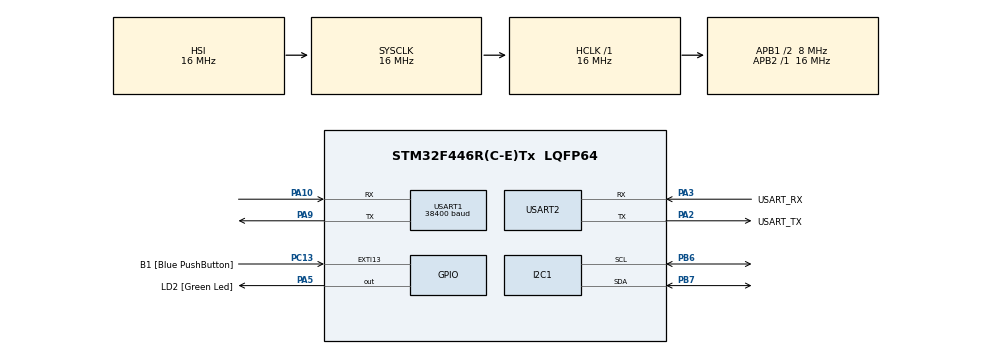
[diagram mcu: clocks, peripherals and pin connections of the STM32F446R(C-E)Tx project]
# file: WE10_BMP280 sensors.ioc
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Mcu.Family=STM32F4
Mcu.Name=STM32F446R(C-E)Tx
Mcu.Package=LQFP64
NVIC.PriorityGroup=NVIC_PRIORITYGROUP_0
PA10.Mode=Asynchronous
PA10.Signal=USART1_RX
PA13.GPIO_Label=TMS
PA13.Mode=Serial_Wire
PA13.Signal=SYS_JTMS-SWDIO
PA14.GPIO_Label=TCK
PA14.Mode=Serial_Wire
PA14.Signal=SYS_JTCK-SWCLK
PA2.GPIO_Label=USART_TX
PA2.Mode=Asynchronous
PA2.Signal=USART2_TX
PA3.GPIO_Label=USART_RX
PA3.Mode=Asynchronous
PA3.Signal=USART2_RX
PA5.GPIO_Label=LD2 [Green Led]
PA5.Signal=GPIO_Output
PA9.Mode=Asynchronous
PA9.Signal=USART1_TX
PB3.GPIO_Label=SWO
PB3.Signal=SYS_JTDO-SWO
PB6.Mode=I2C
PB6.Signal=I2C1_SCL
PB7.Mode=I2C
PB7.Signal=I2C1_SDA
PC13.GPIO_Label=B1 [Blue PushButton]
PC13.GPIO_ModeDefaultEXTI=GPIO_MODE_IT_FALLING
PC13.Signal=GPXTI13
PC14-OSC32_IN.Mode=LSE-External-Oscillator
PC14-OSC32_IN.Signal=RCC_OSC32_IN
PC15-OSC32_OUT.Mode=LSE-External-Oscillator
PC15-OSC32_OUT.Signal=RCC_OSC32_OUT
PH0-OSC_IN.Mode=HSE-External-Oscillator
PH0-OSC_IN.Signal=RCC_OSC_IN
PH1-OSC_OUT.Mode=HSE-External-Oscillator
PH1-OSC_OUT.Signal=RCC_OSC_OUT
ProjectManager.HeapSize=0x200
ProjectManager.StackSize=0x400
ProjectManager.TargetToolchain=STM32CubeIDE
RCC.48MHZClocksFreq_Value=84000000
RCC.AHBFreq_Value=16000000
RCC.APB1CLKDivider=RCC_HCLK_DIV2
RCC.APB1Freq_Value=8000000
RCC.APB1TimFreq_Value=16000000
RCC.APB2Freq_Value=16000000
RCC.APB2TimFreq_Value=16000000
RCC.CortexFreq_Value=16000000
RCC.FLatency-AdvancedSettings=FLASH_LATENCY_0
RCC.HCLKFreq_Value=16000000
RCC.HSE_VALUE=8000000
RCC.HSI_VALUE=16000000
RCC.PLLN=336
RCC.PLLP=RCC_PLLP_DIV4
RCC.SYSCLKFreq_VALUE=16000000
RCC.USBFreq_Value=168000000
RCC.VCOOutputFreq_Value=336000000
TIM1.Prescaler=83
USART1.BaudRate=38400
USART1.VirtualMode=VM_ASYNC
USART2.VirtualMode=VM_ASYNC
VP_TIM1_VS_ClockSourceINT.Mode=Internal
board=NUCLEO-F446RE

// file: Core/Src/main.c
/* USER CODE BEGIN Header */
/**
  ******************************************************************************
  * @file           : main.c
  * @brief          : Main program body
  ******************************************************************************
  * @attention
  *
  * Copyright (c) 2026 STMicroelectronics.
  * All rights reserved.
  *
  * This software is licensed under terms that can be found in the LICENSE file
  * in the root directory of this software component.
  * If no LICENSE file comes with this software, it is provided AS-IS.
  *
  ******************************************************************************
  */
/* USER CODE END Header */
#include "main.h"

/* USER CODE BEGIN Includes */
#include <stdio.h>
#include <string.h>
#include <stdlib.h>
#include <math.h>
/* USER CODE END Includes */

/* USER CODE BEGIN PTD */

/* ---------------- BMP280 types ---------------- */
typedef struct {
    uint16_t dig_T1;
    int16_t  dig_T2;
    int16_t  dig_T3;

    uint16_t dig_P1;
    int16_t  dig_P2;
    int16_t  dig_P3;
    int16_t  dig_P4;
    int16_t  dig_P5;
    int16_t  dig_P6;
    int16_t  dig_P7;
    int16_t  dig_P8;
    int16_t  dig_P9;
} BMP280_Calib;

typedef struct {
    float temperature; /* deg C */
    float pressure;    /* hPa */
    float altitude;    /* meters, estimated from pressure */
} BMP280_Data;

/* USER CODE END PTD */

/* USER CODE BEGIN PD */

/* ---------------- BMP280 defines ---------------- */
/* 7-bit I2C address is 0x76 (SDO -> GND) or 0x77 (SDO -> VDDIO).
 * HAL_I2C functions want the 8-bit (already shifted) address. */
#define BMP280_I2C_ADDR   (0x76 << 1)

#define BMP280_REG_ID          0xD0
#define BMP280_REG_RESET       0xE0
#define BMP280_REG_STATUS      0xF3
#define BMP280_REG_CTRL_MEAS   0xF4
#define BMP280_REG_CONFIG      0xF5
#define BMP280_REG_PRESS_MSB   0xF7
#define BMP280_REG_CALIB_START 0x88   /* 24 bytes: dig_T1..dig_P9 */

#define BMP280_CHIP_ID         0x58

/* USER CODE END PD */

I2C_HandleTypeDef hi2c1;

TIM_HandleTypeDef htim1;

UART_HandleTypeDef huart1;
UART_HandleTypeDef huart2;

/* USER CODE BEGIN PV */
static BMP280_Calib calib;
static int32_t t_fine; /* shared between temp and pressure compensation, per datasheet */
BMP280_Data bmp280_data;
/* USER CODE END PV */

void SystemClock_Config(void);
static void MX_GPIO_Init(void);
static void MX_USART2_UART_Init(void);
static void MX_I2C1_Init(void);
static void MX_TIM1_Init(void);
static void MX_USART1_UART_Init(void);
/* USER CODE BEGIN PFP */

/* BMP280 driver */
static HAL_StatusTypeDef BMP280_ReadReg(I2C_HandleTypeDef *hi2c, uint8_t reg, uint8_t *buf, uint16_t len);
static HAL_StatusTypeDef BMP280_WriteReg(I2C_HandleTypeDef *hi2c, uint8_t reg, uint8_t value);
static void BMP280_ReadCalibration(I2C_HandleTypeDef *hi2c);
HAL_StatusTypeDef BMP280_Init(I2C_HandleTypeDef *hi2c);
HAL_StatusTypeDef BMP280_ReadData(I2C_HandleTypeDef *hi2c, BMP280_Data *data);
static float BMP280_CompensateTemperature(int32_t adc_T);
static float BMP280_CompensatePressure(int32_t adc_P);

/* WE10 WiFi / MQTT driver */
void WE10_Init(char *SSID, char *PASSWD);
void MQTT_Init(void);
void mqtt_publish_bmp280(float temperature, float pressure, float altitude);

/* USER CODE END PFP */

/* USER CODE BEGIN 0 */

/* =========================================================================
 *                              BMP280 DRIVER
 * ========================================================================= */

static HAL_StatusTypeDef BMP280_ReadReg(I2C_HandleTypeDef *hi2c, uint8_t reg, uint8_t *buf, uint16_t len)
{
    return HAL_I2C_Mem_Read(hi2c, BMP280_I2C_ADDR, reg, I2C_MEMADD_SIZE_8BIT, buf, len, 100);
}

static HAL_StatusTypeDef BMP280_WriteReg(I2C_HandleTypeDef *hi2c, uint8_t reg, uint8_t value)
{
    return HAL_I2C_Mem_Write(hi2c, BMP280_I2C_ADDR, reg, I2C_MEMADD_SIZE_8BIT, &value, 1, 100);
}

static void BMP280_ReadCalibration(I2C_HandleTypeDef *hi2c)
{
    uint8_t buf[24];
    BMP280_ReadReg(hi2c, BMP280_REG_CALIB_START, buf, 24);

    calib.dig_T1 = (uint16_t)(buf[1]  << 8 | buf[0]);
    calib.dig_T2 = (int16_t)(buf[3]  << 8 | buf[2]);
    calib.dig_T3 = (int16_t)(buf[5]  << 8 | buf[4]);

    calib.dig_P1 = (uint16_t)(buf[7]  << 8 | buf[6]);
    calib.dig_P2 = (int16_t)(buf[9]  << 8 | buf[8]);
    calib.dig_P3 = (int16_t)(buf[11] << 8 | buf[10]);
    calib.dig_P4 = (int16_t)(buf[13] << 8 | buf[12]);
    calib.dig_P5 = (int16_t)(buf[15] << 8 | buf[14]);
    calib.dig_P6 = (int16_t)(buf[17] << 8 | buf[16]);
    calib.dig_P7 = (int16_t)(buf[19] << 8 | buf[18]);
    calib.dig_P8 = (int16_t)(buf[21] << 8 | buf[20]);
    calib.dig_P9 = (int16_t)(buf[23] << 8 | buf[22]);
}

HAL_StatusTypeDef BMP280_Init(I2C_HandleTypeDef *hi2c)
{
    uint8_t id = 0;

    if (BMP280_ReadReg(hi2c, BMP280_REG_ID, &id, 1) != HAL_OK)
        return HAL_ERROR;

    if (id != BMP280_CHIP_ID)
        return HAL_ERROR;

    /* Soft reset */
    BMP280_WriteReg(hi2c, BMP280_REG_RESET, 0xB6);
    HAL_Delay(10);

    BMP280_ReadCalibration(hi2c);

    /* config: standby 62.5ms, filter off */
    BMP280_WriteReg(hi2c, BMP280_REG_CONFIG, 0x00);

    /* ctrl_meas: osrs_t=1, osrs_p=1, mode=normal (0b00100111 = 0x27) */
    BMP280_WriteReg(hi2c, BMP280_REG_CTRL_MEAS, 0x27);
    HAL_Delay(10);

    return HAL_OK;
}

/* Bosch reference compensation formulas (floating point variant) */
static float BMP280_CompensateTemperature(int32_t adc_T)
{
    float var1, var2, T;

    var1 = (((float)adc_T) / 16384.0f - ((float)calib.dig_T1) / 1024.0f) * ((float)calib.dig_T2);
    var2 = ((((float)adc_T) / 131072.0f - ((float)calib.dig_T1) / 8192.0f) *
            (((float)adc_T) / 131072.0f - ((float)calib.dig_T1) / 8192.0f)) * ((float)calib.dig_T3);

    t_fine = (int32_t)(var1 + var2);
    T = (var1 + var2) / 5120.0f;
    return T;
}

static float BMP280_CompensatePressure(int32_t adc_P)
{
    float var1, var2, p;

    var1 = ((float)t_fine / 2.0f) - 64000.0f;
    var2 = var1 * var1 * ((float)calib.dig_P6) / 32768.0f;
    var2 = var2 + var1 * ((float)calib.dig_P5) * 2.0f;
    var2 = (var2 / 4.0f) + (((float)calib.dig_P4) * 65536.0f);
    var1 = (((float)calib.dig_P3) * var1 * var1 / 524288.0f + ((float)calib.dig_P2) * var1) / 524288.0f;
    var1 = (1.0f + var1 / 32768.0f) * ((float)calib.dig_P1);

    if (var1 == 0.0f)
        return 0.0f; /* avoid divide-by-zero */

    p = 1048576.0f - (float)adc_P;
    p = (p - (var2 / 4096.0f)) * 6250.0f / var1;
    var1 = ((float)calib.dig_P9) * p * p / 2147483648.0f;
    var2 = p * ((float)calib.dig_P8) / 32768.0f;
    p = p + (var1 + var2 + ((float)calib.dig_P7)) / 16.0f;

    return p / 100.0f; /* Pa -> hPa */
}

HAL_StatusTypeDef BMP280_ReadData(I2C_HandleTypeDef *hi2c, BMP280_Data *data)
{
    uint8_t buf[6];

    if (BMP280_ReadReg(hi2c, BMP280_REG_PRESS_MSB, buf, 6) != HAL_OK)
        return HAL_ERROR;

    int32_t adc_P = ((int32_t)buf[0] << 12) | ((int32_t)buf[1] << 4) | (buf[2] >> 4);
    int32_t adc_T = ((int32_t)buf[3] << 12) | ((int32_t)buf[4] << 4) | (buf[5] >> 4);

    data->temperature = BMP280_CompensateTemperature(adc_T);
    data->pressure     = BMP280_CompensatePressure(adc_P);

    /* Standard atmosphere approximation for altitude, sea-level = 1013.25 hPa */
    data->altitude = 44330.0f * (1.0f - powf(data->pressure / 1013.25f, 0.1903f));

    return HAL_OK;
}

/* =========================================================================
 *                          WE10 WiFi / MQTT DRIVER
 * ========================================================================= */

void WE10_Init(char *SSID, char *PASSWD)
{
    char buffer[128];
    HAL_StatusTypeDef status;

    /* Local helper: send a command and print the response */
    void send_cmd(const char *cmd)
    {
        HAL_UART_Transmit(&huart1, (uint8_t *)cmd, strlen(cmd), 1000);
        HAL_UART_Transmit(&huart2, (uint8_t *)cmd, strlen(cmd), 1000);

        memset(buffer, 0, sizeof(buffer));
        status = HAL_UART_Receive(&huart1, (uint8_t *)buffer, sizeof(buffer) - 1, 2000);
        HAL_UART_Transmit(&huart2, (uint8_t *)buffer, strlen(buffer), 1000);

        if (status != HAL_OK) {
            printf("Error receiving response for %s\n", cmd);
        } else {
            printf("Response for %s: %s\n", cmd, buffer);
        }
    }

    /********* CMD+RESET **********/
    send_cmd("CMD+RESET\r\n");
    HAL_Delay(5000);

    /********* CMD+WIFIMODE=1 **********/
    send_cmd("CMD+WIFIMODE=1\r\n");
    HAL_Delay(2000);

    /********* CMD+CONTOAP=SSID,PASSWD **********/
    sprintf(buffer, "CMD+CONTOAP=%s,%s\r\n", SSID, PASSWD);
    send_cmd(buffer);
    HAL_Delay(5000);

    /********* CMD?WIFI **********/
    send_cmd("CMD?WIFI\r\n");
    HAL_Delay(2000);
}

void MQTT_Init(void)
{
    char buffer[128];

    /* Local helper: send a command and print the response */
    void send_cmd(const char *cmd)
    {
        HAL_StatusTypeDef status;

        HAL_UART_Transmit(&huart1, (uint8_t *)cmd, strlen(cmd), 1000);
        HAL_UART_Transmit(&huart2, (uint8_t *)cmd, strlen(cmd), 1000);

        memset(buffer, 0, sizeof(buffer));
        status = HAL_UART_Receive(&huart1, (uint8_t *)buffer, sizeof(buffer) - 1, 2000);

        printf("Command: %s\n", cmd);
        if (status == HAL_OK) {
            printf("Response: %s\n", buffer);
        } else if (status == HAL_TIMEOUT) {
            printf("Response timeout for command: %s\n", cmd);
        } else {
            printf("Error receiving response for command: %s\n", cmd);
        }
    }

    /********* CMD+MQTTNETCFG **********/
    send_cmd("CMD+MQTTNETCFG=dev.rightech.io,1883\r\n");
    HAL_Delay(2000);

    /********* CMD+MQTTCONCFG **********
     * Replace the client-id string below with your own Rightech client id. */
    send_cmd("CMD+MQTTCONCFG=3,mqtt-korukondagirishkumar04-448evl,,,,,,,,,\r\n");
    HAL_Delay(2000);

    /********* CMD+MQTTSTART **********/
    send_cmd("CMD+MQTTSTART=1\r\n");
    HAL_Delay(5000);

    /********* CMD+MQTTSUB **********/
    send_cmd("CMD+MQTTSUB=base/relay/led1\r\n");
    HAL_Delay(2000);
}

void mqtt_publish_bmp280(float temperature, float pressure, float altitude)
{
    char buffer[128];
    char temp_msg[16];
    char press_msg[16];
    char alt_msg[16];

    /* Format each float as "xx.x" (1 decimal place), no external float printf needed */
    int temp_int  = (int)(temperature * 10);
    int press_int = (int)(pressure * 10);
    int alt_int   = (int)(altitude * 10);

    sprintf(temp_msg,  "%d.%d", temp_int  / 10, abs(temp_int  % 10));
    sprintf(press_msg, "%d.%d", press_int / 10, abs(press_int % 10));
    sprintf(alt_msg,   "%d.%d", alt_int   / 10, abs(alt_int   % 10));

    /* Debug over huart2 */
    char debug_msg[128];
    sprintf(debug_msg, "BMP280 - Temp: %sC, Pressure: %shPa, Altitude: %sm\r\n",
            temp_msg, press_msg, alt_msg);
    HAL_UART_Transmit(&huart2, (uint8_t *)debug_msg, strlen(debug_msg), 1000);

    /* Publish temperature */
    sprintf(buffer, "CMD+MQTTPUB=base/state/temperature,%s\r\n", temp_msg);
    HAL_UART_Transmit(&huart1, (uint8_t *)buffer, strlen(buffer), 1000);
    HAL_Delay(1000);

    /* Publish pressure */
    sprintf(buffer, "CMD+MQTTPUB=base/state/pressure,%s\r\n", press_msg);
    HAL_UART_Transmit(&huart1, (uint8_t *)buffer, strlen(buffer), 1000);
    HAL_Delay(1000);

    /* Publish altitude */
    sprintf(buffer, "CMD+MQTTPUB=base/state/altitude,%s\r\n", alt_msg);
    HAL_UART_Transmit(&huart1, (uint8_t *)buffer, strlen(buffer), 1000);
    HAL_Delay(1000);

    /* Check for incoming messages (e.g. LED control) */
    memset(buffer, 0, sizeof(buffer));
    HAL_StatusTypeDef status = HAL_UART_Receive(&huart1, (uint8_t *)buffer, sizeof(buffer) - 1, 100);

    if (status == HAL_OK && strlen(buffer) > 0) {
        HAL_UART_Transmit(&huart2, (uint8_t *)buffer, strlen(buffer), 1000);

        for (int i = 0; i < sizeof(buffer); i++) {
            if (buffer[i] == 'N') {
                HAL_GPIO_WritePin(LD2_GPIO_Port, LD2_Pin, GPIO_PIN_SET);
            } else if (buffer[i] == 'F') {
                HAL_GPIO_WritePin(LD2_GPIO_Port, LD2_Pin, GPIO_PIN_RESET);
            }
        }
    }
}

/* USER CODE END 0 */

int main(void)
{

  /* MCU Configuration--------------------------------------------------------*/

  /* Reset of all peripherals, Initializes the Flash interface and the Systick. */
  HAL_Init();

  /* Configure the system clock */
  SystemClock_Config();

  /* Initialize all configured peripherals */
  MX_GPIO_Init();
  MX_USART2_UART_Init();
  MX_I2C1_Init();
  MX_TIM1_Init();
  MX_USART1_UART_Init();
  /* USER CODE BEGIN 2 */

  // Initialize WiFi and MQTT (WE10 module talks over huart1)
  WE10_Init("Hero", "hero1234");
  MQTT_Init();

  // Initialize the BMP280 pressure/temperature sensor over I2C1
  if (BMP280_Init(&hi2c1) != HAL_OK)
  {
    // Sensor not found / not responding - check wiring, address (0x76 vs 0x77)
    Error_Handler();
  }

  /* USER CODE END 2 */

  /* Infinite loop */
  /* USER CODE BEGIN WHILE */
  while (1)
  {
    if (BMP280_ReadData(&hi2c1, &bmp280_data) == HAL_OK)
    {
      mqtt_publish_bmp280(bmp280_data.temperature, bmp280_data.pressure, bmp280_data.altitude);
    }

    HAL_Delay(2000);

    /* USER CODE END WHILE */

  }
}

void SystemClock_Config(void)
{
  RCC_OscInitTypeDef RCC_OscInitStruct = {0};
  RCC_ClkInitTypeDef RCC_ClkInitStruct = {0};

  /** Configure the main internal regulator output voltage
  */
  __HAL_RCC_PWR_CLK_ENABLE();
  __HAL_PWR_VOLTAGESCALING_CONFIG(PWR_REGULATOR_VOLTAGE_SCALE3);

  /** Initializes the RCC Oscillators according to the specified parameters
  * in the RCC_OscInitTypeDef structure.
  */
  RCC_OscInitStruct.OscillatorType = RCC_OSCILLATORTYPE_HSI;
  RCC_OscInitStruct.HSIState = RCC_HSI_ON;
  RCC_OscInitStruct.HSICalibrationValue = RCC_HSICALIBRATION_DEFAULT;
  RCC_OscInitStruct.PLL.PLLState = RCC_PLL_NONE;
  if (HAL_RCC_OscConfig(&RCC_OscInitStruct) != HAL_OK)
  {
    Error_Handler();
  }

  /** Initializes the CPU, AHB and APB buses clocks
  */
  RCC_ClkInitStruct.ClockType = RCC_CLOCKTYPE_HCLK|RCC_CLOCKTYPE_SYSCLK
                              |RCC_CLOCKTYPE_PCLK1|RCC_CLOCKTYPE_PCLK2;
  RCC_ClkInitStruct.SYSCLKSource = RCC_SYSCLKSOURCE_HSI;
  RCC_ClkInitStruct.AHBCLKDivider = RCC_SYSCLK_DIV1;
  RCC_ClkInitStruct.APB1CLKDivider = RCC_HCLK_DIV2;
  RCC_ClkInitStruct.APB2CLKDivider = RCC_HCLK_DIV1;

  if (HAL_RCC_ClockConfig(&RCC_ClkInitStruct, FLASH_LATENCY_0) != HAL_OK)
  {
    Error_Handler();
  }
}

static void MX_I2C1_Init(void)
{

  hi2c1.Instance = I2C1;
  hi2c1.Init.ClockSpeed = 100000;
  hi2c1.Init.DutyCycle = I2C_DUTYCYCLE_2;
  hi2c1.Init.OwnAddress1 = 0;
  hi2c1.Init.AddressingMode = I2C_ADDRESSINGMODE_7BIT;
  hi2c1.Init.DualAddressMode = I2C_DUALADDRESS_DISABLE;
  hi2c1.Init.OwnAddress2 = 0;
  hi2c1.Init.GeneralCallMode = I2C_GENERALCALL_DISABLE;
  hi2c1.Init.NoStretchMode = I2C_NOSTRETCH_DISABLE;
  if (HAL_I2C_Init(&hi2c1) != HAL_OK)
  {
    Error_Handler();
  }

}

static void MX_TIM1_Init(void)
{

  TIM_ClockConfigTypeDef sClockSourceConfig = {0};
  TIM_MasterConfigTypeDef sMasterConfig = {0};

  htim1.Instance = TIM1;
  htim1.Init.Prescaler = 83;
  htim1.Init.CounterMode = TIM_COUNTERMODE_UP;
  htim1.Init.Period = 65535;
  htim1.Init.ClockDivision = TIM_CLOCKDIVISION_DIV1;
  htim1.Init.RepetitionCounter = 0;
  htim1.Init.AutoReloadPreload = TIM_AUTORELOAD_PRELOAD_DISABLE;
  if (HAL_TIM_Base_Init(&htim1) != HAL_OK)
  {
    Error_Handler();
  }
  sClockSourceConfig.ClockSource = TIM_CLOCKSOURCE_INTERNAL;
  if (HAL_TIM_ConfigClockSource(&htim1, &sClockSourceConfig) != HAL_OK)
  {
    Error_Handler();
  }
  sMasterConfig.MasterOutputTrigger = TIM_TRGO_RESET;
  sMasterConfig.MasterSlaveMode = TIM_MASTERSLAVEMODE_DISABLE;
  if (HAL_TIMEx_MasterConfigSynchronization(&htim1, &sMasterConfig) != HAL_OK)
  {
    Error_Handler();
  }

}

static void MX_USART1_UART_Init(void)
{

  huart1.Instance = USART1;
  huart1.Init.BaudRate = 38400;
  huart1.Init.WordLength = UART_WORDLENGTH_8B;
  huart1.Init.StopBits = UART_STOPBITS_1;
  huart1.Init.Parity = UART_PARITY_NONE;
  huart1.Init.Mode = UART_MODE_TX_RX;
  huart1.Init.HwFlowCtl = UART_HWCONTROL_NONE;
  huart1.Init.OverSampling = UART_OVERSAMPLING_16;
  if (HAL_UART_Init(&huart1) != HAL_OK)
  {
    Error_Handler();
  }

}

static void MX_USART2_UART_Init(void)
{

  huart2.Instance = USART2;
  huart2.Init.BaudRate = 115200;
  huart2.Init.WordLength = UART_WORDLENGTH_8B;
  huart2.Init.StopBits = UART_STOPBITS_1;
  huart2.Init.Parity = UART_PARITY_NONE;
  huart2.Init.Mode = UART_MODE_TX_RX;
  huart2.Init.HwFlowCtl = UART_HWCONTROL_NONE;
  huart2.Init.OverSampling = UART_OVERSAMPLING_16;
  if (HAL_UART_Init(&huart2) != HAL_OK)
  {
    Error_Handler();
  }

}

static void MX_GPIO_Init(void)
{
  GPIO_InitTypeDef GPIO_InitStruct = {0};

  /* GPIO Ports Clock Enable */
  __HAL_RCC_GPIOC_CLK_ENABLE();
  __HAL_RCC_GPIOH_CLK_ENABLE();
  __HAL_RCC_GPIOA_CLK_ENABLE();
  __HAL_RCC_GPIOB_CLK_ENABLE();

  /*Configure GPIO pin Output Level */
  HAL_GPIO_WritePin(LD2_GPIO_Port, LD2_Pin, GPIO_PIN_RESET);

  /*Configure GPIO pin : B1_Pin */
  GPIO_InitStruct.Pin = B1_Pin;
  GPIO_InitStruct.Mode = GPIO_MODE_IT_FALLING;
  GPIO_InitStruct.Pull = GPIO_NOPULL;
  HAL_GPIO_Init(B1_GPIO_Port, &GPIO_InitStruct);

  /*Configure GPIO pin : LD2_Pin */
  GPIO_InitStruct.Pin = LD2_Pin;
  GPIO_InitStruct.Mode = GPIO_MODE_OUTPUT_PP;
  GPIO_InitStruct.Pull = GPIO_NOPULL;
  GPIO_InitStruct.Speed = GPIO_SPEED_FREQ_LOW;
  HAL_GPIO_Init(LD2_GPIO_Port, &GPIO_InitStruct);

}

void Error_Handler(void)
{
  __disable_irq();
  while (1)
  {
  }
}
